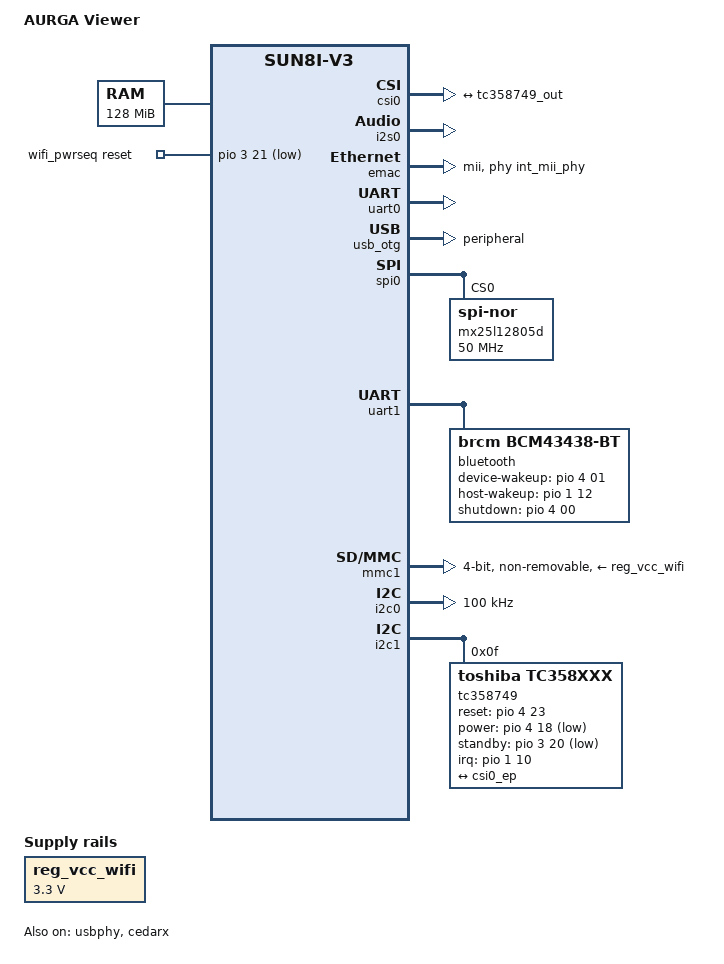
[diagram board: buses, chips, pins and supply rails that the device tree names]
// SPDX-License-Identifier: (GPL-2.0+ OR X11)
/*
 * Copyright 2019 Icenowy Zheng <icenowy@aosc.io>
 */

/dts-v1/;
#include "sun8i-v3.dtsi"
#include <dt-bindings/gpio/gpio.h>
#include <dt-bindings/input/input.h>

/ {
	model = "AURGA Viewer";
	compatible = "qisi,aurga-viewer", "sochip,s3", "allwinner,sun8i-v3";

	aliases {
		serial0 = &uart0;
	};

	chosen {
		stdout-path = "serial0:115200n8";
	};

	memory@40000000 {
		device_type = "memory";
		reg = <0x40000000 0x8000000>;
	};

	cedarx: video-codec@1c0e000 {
		compatible = "allwinner,sun8i-v3-cedar";
		reg = <0x01c0e000 0x1000>;
		clocks = <&ccu CLK_BUS_VE>, <&ccu CLK_VE>, <&ccu CLK_DRAM_VE>;
		clock-names = "ahb", "mod", "ram";
		resets = <&ccu RST_BUS_VE>;
		interrupts = <GIC_SPI 58 IRQ_TYPE_LEVEL_HIGH>;
		allwinner,sram = <&ve_sram 1>;
		status = "okay";
	};
			
	ion: ion {
		compatible = "allwinner,sunxi-ion";
		status = "okay";
		heap_cma@0{
			compatible = "allwinner,cma";
			heap-name  = "cma";
			heap-id    = <0x4>;
			heap-base  = <0x0>;
			heap-size  = <0x0>;
			heap-type  = "ion_cma";
		};
	};

	csi0: csi@1cb0000 {
		compatible = "allwinner,sun8i-v3s-csi";
		reg = <0x01cb0000 0x3000>;
		interrupts = <GIC_SPI 83 IRQ_TYPE_LEVEL_HIGH>;
		clocks = <&ccu CLK_BUS_CSI>, <&ccu CLK_CSI1_SCLK>, <&ccu CLK_DRAM_CSI>, <&ccu CLK_MIPI_CSI>;
		clock-names = "bus", "mod", "ram", "dphy";
		resets = <&ccu RST_BUS_CSI>;
		status = "disabled";
	};

	wifi_pwrseq: wifi_pwrseq {
		compatible = "mmc-pwrseq-simple";
		reset-gpios = <&pio 3 21 GPIO_ACTIVE_LOW>; // PD21 WIFI-RST 
		post-power-on-delay-ms = <100>;
	};

	reg_vcc_wifi: vcc-wifi {
		compatible = "regulator-fixed";
		regulator-name = "vcc-wifi";
		regulator-min-microvolt = <3300000>;
		regulator-max-microvolt = <3300000>;
		regulator-always-on;
	};

	codec_dummy:codec_dummy {
		compatible = "linux,snd-soc-dummy";
        #sound-dai-cells = <0>;
        status = "okay";
	};

	sound {
        compatible = "simple-audio-card";
        simple-audio-card,format = "i2s";
		simple-audio-card,bitclock-master = <&snd_codec>;
        simple-audio-card,frame-master = <&snd_codec>;
        simple-audio-card,mclk-fs = <512>;
        status = "okay";

        snd_cpu: simple-audio-card,cpu {
            sound-dai = <&i2s0>;
        };
 
        snd_codec: simple-audio-card,codec {
            sound-dai = <&codec_dummy>;
    	};  
    };

	timer {
		clock-frequency = <24000000>;
	};
};

&pio {
	csi0_mclk: csi0-mclk {
        pins = "PE20";
        function = "csi_mipi";
    };

	hdmi_gpio:hdmi-gpio{
		pins = "PD20", "PE18", "PE19";
        function = "gpio_out";
	};

	i2s_pins: i2s-pins{
		pins = "PG10", "PG11", "PG12", "PG13";
        function = "i2s";
	};
};

&syscon {
	sram_c: sram@1d00000 {
		compatible = "mmio-sram";
		reg = <0x01d00000 0x80000>;
		#address-cells = <1>;
		#size-cells = <1>;
		ranges = <0 0x01d00000 0x80000>;

		ve_sram: sram-section@0 {
			compatible = "allwinner,sun8i-v3s-sram-c", "allwinner,sun4i-a10-sram-c1";
			reg = <0x000000 0x80000>;
		};
	};
};

&uart1_pg_pins {
	pins = "PG6", "PG7", "PG8", "PG9";
	function = "uart1";
};

&codec {
	allwinner,audio-routing = 
		"Line Out", "LINEOUT",
		"LINEIN", "Line In";
	status = "disabled";
};

&i2s0 {
	status = "okay";
};

&emac {
	phy-handle = <&int_mii_phy>;
	phy-mode = "mii";
	status = "okay";
};

&uart0 {
	pinctrl-0 = <&uart0_pb_pins>;
	pinctrl-names = "default";
	status = "okay";
};

&usb_otg {
	dr_mode = "peripheral";
	status = "okay";
};

&usbphy {
	status = "okay";
};

&spi0 {
        status ="okay";
		dma-names = ""; /* Disable DMA!!! DMA causes conflicts with jffs2 */
        mx25l12805d:mx25l12805d@0 {
                compatible = "jedec,spi-nor";
                reg = <0x0>;
                spi-max-frequency = <50000000>;
                #address-cells = <1>;
                #size-cells = <1>;
				m25p,fast-read;
        };

};

&csi0 {
    status = "okay";
    allwinner,mipi-csi-bps = <400000000>;
    port {
        csi0_ep: endpoint {
            remote-endpoint = <&tc358749_out>;
            data-lanes = <1 2 3 4>;
			clock-lanes = <0>;
			clock-noncontinuous;
			link-frequencies = /bits/ 64 <320000000>;
        };
    };
};

/* Bluetooth */
&uart1 {
	pinctrl-0 = <&uart1_pg_pins>;
	pinctrl-names = "default";
	uart-has-rtscts;
	status = "okay";

	bluetooth {
		compatible = "brcm,bcm43438-bt";
		clocks = <&rtc 1>;
		clock-names = "lpo";
		device-wakeup-gpios = <&pio 4 01 GPIO_ACTIVE_HIGH>; /* PE01 */
		host-wakeup-gpios = <&pio 1 12 GPIO_ACTIVE_HIGH>; /* PB12 */
		shutdown-gpios = <&pio 4 00 GPIO_ACTIVE_HIGH>; /* PE00 */
	};
};

&mmc0 {
	vmmc-supply = <&reg_vcc_wifi>;
	vqmmc-supply = <&reg_vcc_wifi>;
	cd-gpios = <&pio 5 06 GPIO_ACTIVE_LOW>; /* PF06 */
	pinctrl-0 = <&mmc0_pins>;
	bus-width = <4>;
	status = "disabled";
};

/* Wi-Fi Module */
&mmc1 {
	vmmc-supply = <&reg_vcc_wifi>;
	vqmmc-supply = <&reg_vcc_wifi>;
	pinctrl-0 = <&mmc1_pins>;
	bus-width = <4>;
	mmc-pwrseq = <&wifi_pwrseq>;
	status = "okay";
	keep-power-in-suspend;
	non-removable;
	cap-sd-highspeed;
	cap-mmc-highspeed;
	cap-sdio-irq;
};

&i2c0 {
	clock-frequency = <100000>;
    status = "okay";
};

&i2c1 {
	pinctrl-names = "default";
	pinctrl-0 = <&i2c1_pe_pins>;
    status = "okay";

    tc358749: hdmi@f {
        compatible = "toshiba,tc358xxx";
		reg = <0xf>;
		pinctrl-names = "default";
        pinctrl-0 = <&csi0_mclk>;
        pinctrl-1 = <&hdmi_gpio>;
		reset-gpios = <&pio 4 23 (GPIO_ACTIVE_HIGH | GPIO_OPEN_DRAIN)>;	 	/* PD20 HDMI STD */
		//* tc358749
		power-gpios = <&pio 4 18 GPIO_ACTIVE_LOW>; 
		standby-gpios = <&pio 3 20 GPIO_ACTIVE_LOW>; 
		///*/
		interrupt-parent = <&pio>;
		interrupts = <1 10 IRQ_TYPE_LEVEL_HIGH>; /* PB10 HDMI INT */

		port {
			tc358749_out: endpoint {
				remote-endpoint = <&csi0_ep>;
				data-lanes = <1 2 3 4>;
				clock-lanes = <0>;
				clock-noncontinuous;
				link-frequencies = /bits/ 64 <297000000>;
			};
		};
    };
};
